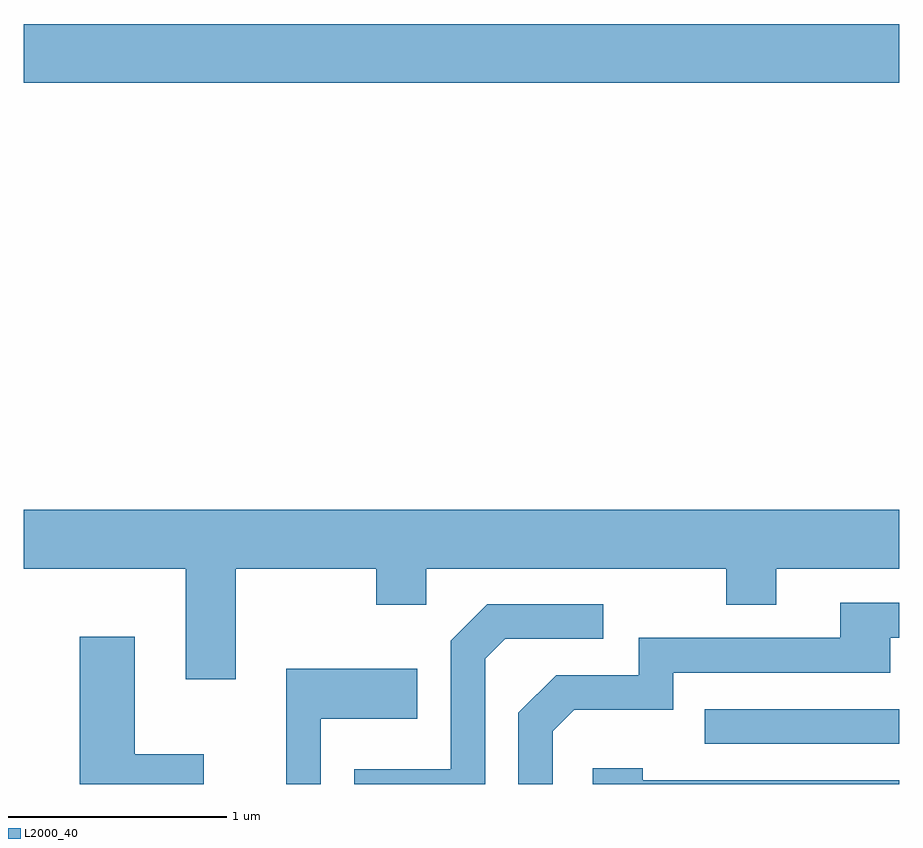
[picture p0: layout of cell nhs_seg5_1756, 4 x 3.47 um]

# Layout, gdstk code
import gdstk
lib = gdstk.Library(unit=1e-6, precision=1e-09)
def R(c, l, rs):  # rectangles x0, y0, x1, y1
    for r in rs: c.add(gdstk.rectangle(r[:2], r[2:], *l))
def P(c, l, *ps):  # polygons
    for p in ps: c.add(gdstk.Polygon(p, *l))
L2000_40 = (2000, 40)

nhs_seg5_1756 = lib.new_cell('nhs_seg5_1756')
R(nhs_seg5_1756, L2000_40, [(240.723,1418.256,241.611,1418.414), (237.611,1421.276,241.611,1421.544)])
P(nhs_seg5_1756, L2000_40, [(238.579,1419.056),(239.221,1419.056),(239.221,1418.891),(239.449,1418.891),(239.449,1419.056),(240.821,1419.056),(240.821,1418.891),(241.049,1418.891),(241.049,1419.056),(241.611,1419.056),(241.611,1419.324),(237.611,1419.324),(237.611,1419.056),(238.351,1419.056),(238.351,1418.551),(238.579,1418.551)],
  [(240.029,1418.314),(240.127,1418.411),(240.579,1418.411),(240.579,1418.581),(241.569,1418.581),(241.569,1418.741),(241.611,1418.741),(241.611,1418.899),(241.341,1418.899),(241.341,1418.739),(240.421,1418.739),(240.421,1418.569),(240.044,1418.569),(239.871,1418.397),(239.871,1418.072),(240.029,1418.072)],
  [(239.719,1418.644),(239.812,1418.736),(240.258,1418.736),(240.258,1418.894),(239.729,1418.894),(239.561,1418.727),(239.561,1418.139),(239.121,1418.139),(239.121,1418.072),(239.719,1418.072)],
  [(238.434,1418.209),(238.119,1418.209),(238.119,1418.744),(237.866,1418.744),(237.866,1418.072),(238.434,1418.072)],
  [(238.969,1418.371),(239.409,1418.371),(239.409,1418.599),(238.811,1418.599),(238.811,1418.072),(238.969,1418.072)],
  [(241.611,1418.089),(240.439,1418.089),(240.439,1418.144),(240.211,1418.144),(240.211,1418.072),(241.611,1418.072)])

lib.write_gds('nhs_seg5_1756.gds')
